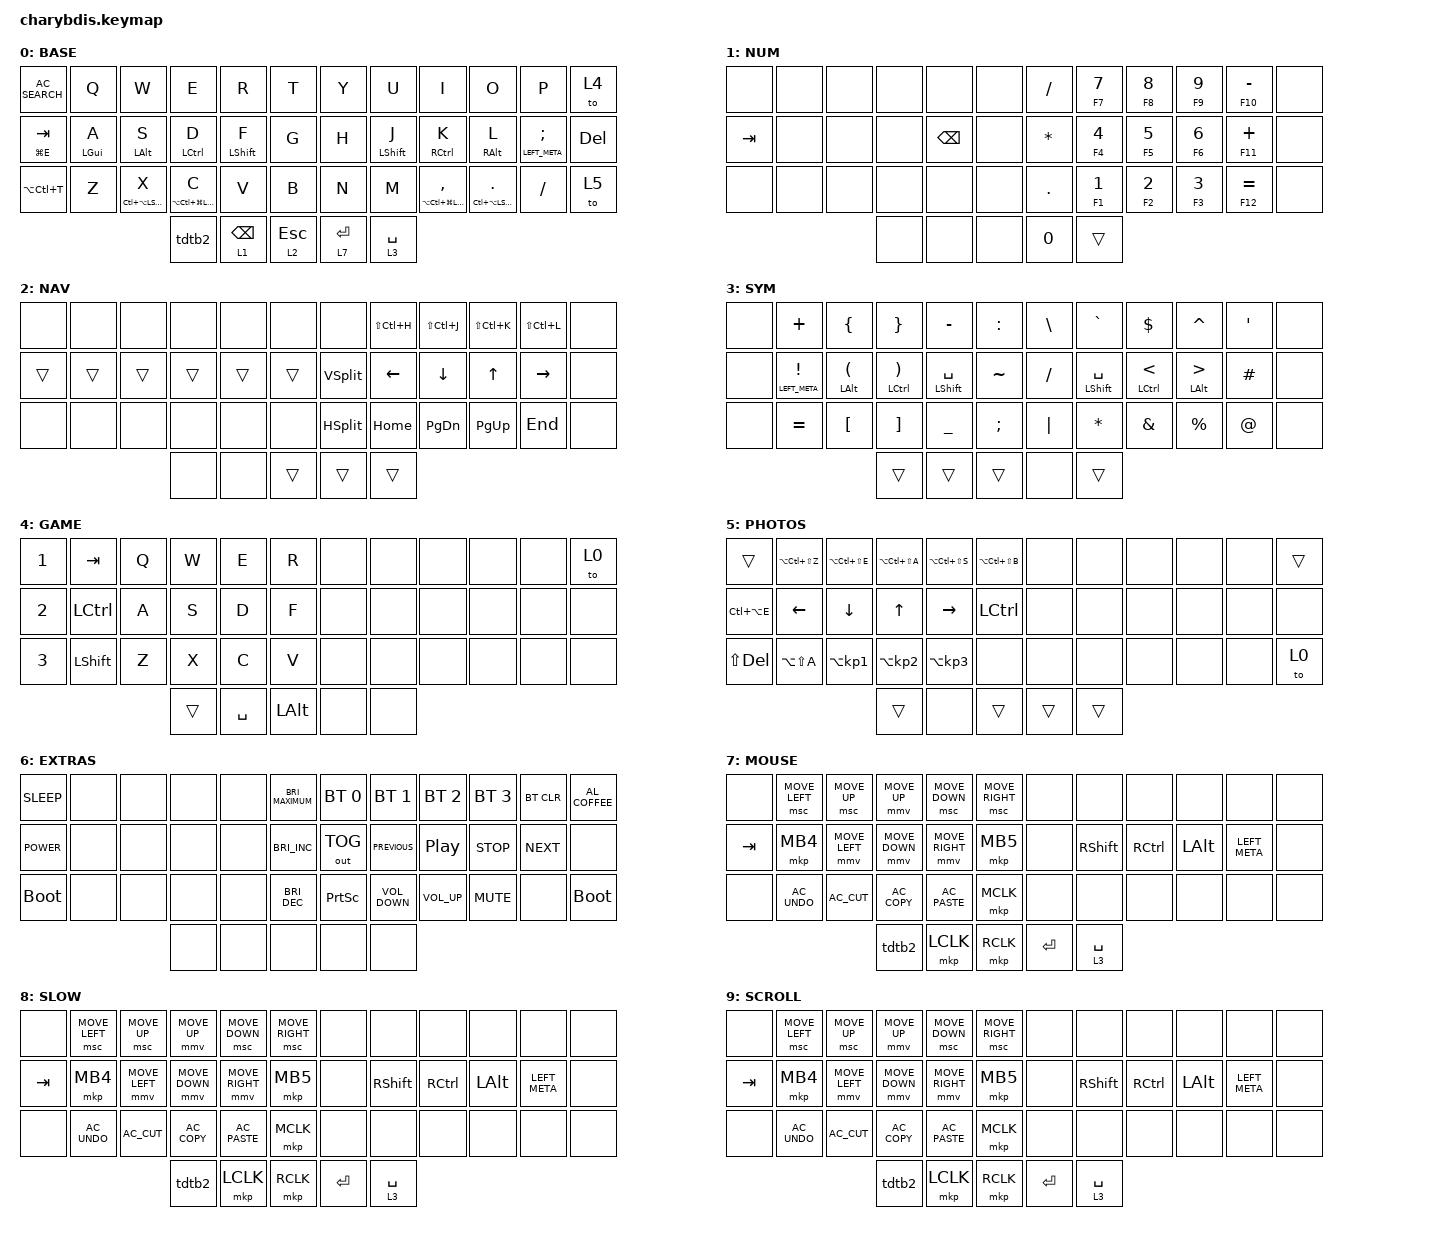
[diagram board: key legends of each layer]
#include <behaviors/mouse_keys.dtsi>
#include <behaviors.dtsi>
#include <dt-bindings/zmk/bt.h>
#include <dt-bindings/zmk/keys.h>
#include <dt-bindings/zmk/mouse.h>
#include <dt-bindings/zmk/outputs.h>
#include <dt-bindings/zmk/ext_power.h>

/ {
    chosen { zmk,matrix_transform = &default_transform; };
};

/ {
    trackball_listener {
        compatible = "zmk,input-behavior-listener";
        device = <&vtrackball>;
        layers = <0 2 3 4 5>;
        evt-type = <INPUT_EV_REL>;
        x-input-code = <INPUT_REL_X>;
        y-input-code = <INPUT_REL_Y>;
        scale-multiplier = <1>;
        scale-divisor = <4>;
        bindings = <&ib_toggle_layer 5>;
    };

    trackball_snipe_listener {
        compatible = "zmk,input-behavior-listener";   
        device = <&vtrackball>;
        layers = <>;
        evt-type = <INPUT_EV_REL>;
        x-input-code = <INPUT_REL_X>;
        y-input-code = <INPUT_REL_Y>;
        scale-multiplier = <1>;
        scale-divisor = <12>;
    };

    trackball_scroll_listener {
        compatible = "zmk,input-behavior-listener";
        device = <&vtrackball>;
        layers = <1>;
        evt-type = <INPUT_EV_REL>;            
        x-input-code = <INPUT_REL_MISC>;
        y-input-code = <INPUT_REL_WHEEL>;
        y-invert;
        bindings = <&ib_wheel_scaler 1 16>;
    };

    ib_wheel_scaler: ib_wheel_scaler {
        compatible = "zmk,input-behavior-scaler";
        #binding-cells = <2>;
        evt-type = <INPUT_EV_REL>;
        input-code = <INPUT_REL_WHEEL>;
    };

    ib_toggle_layer: ib_toggle_layer {
        compatible = "zmk,input-behavior-tog-layer";
        #binding-cells = <1>;
        time-to-live-ms = <750>;
    };
    
    behaviors {
        hm: homerow_mod {
            compatible = "zmk,behavior-hold-tap";
            #binding-cells = <2>;
            flavor = "tap-preferred";
            tapping-term-ms = <250>;
            quick-tap-ms = <150>;
            require-prior-idle-ms = <125>;
            bindings = <&kp>, <&kp>;
        };

        tdtb: td_mouse_scroll {
            compatible = "zmk,behavior-tap-dance";
            #binding-cells = <0>;
            bindings = <&httl 9 7>, <&to 0>;
            tapping-term-ms = <200>;
        };

        tdtb2: td_slow_scroll {
            compatible = "zmk,behavior-tap-dance";
            #binding-cells = <0>;
            bindings = <&httl 9 0>, <&to 8>;
        };

        httl: ht_two_layers {
            compatible = "zmk,behavior-hold-tap";
            bindings = <&mo>, <&to>;

            #binding-cells = <2>;
            flavor = "balanced";
            tapping-term-ms = <200>;
        };

        td_bore: BASE_or_EXTRA {
            compatible = "zmk,behavior-tap-dance";
            #binding-cells = <0>;
            bindings = <&mo 6>, <&to 0>;
        };
    };

    combos {
        compatible = "zmk,combos";

        Delete {
            bindings = <&kp DELETE>;
            key-positions = <8 9>;
            layers = <0>;
        };

        CapsWord {
            bindings = <&caps_word>;
            key-positions = <17 18>;
            layers = <0>;
        };

        BASE_or_EXTRAS {
            bindings = <&td_bore>;
            key-positions = <38 39>;
        };
    };

    macros {
        VSplit: VSplit {
            compatible = "zmk,behavior-macro";
            #binding-cells = <0>;
            bindings = <&kp LEFT_SHIFT &kp SEMI &kp LS(V) &kp LS(S) &kp LS(P) &kp RET>;
        };

        HSplit: HSplit {
            compatible = "zmk,behavior-macro";
            #binding-cells = <0>;
            bindings = <&kp LEFT_SHIFT &kp SEMI &kp LS(S) &kp LS(P) &kp RET>;
        };
    };

    keymap {
        compatible = "zmk,keymap";

        BASE {
            bindings = <
// ╭────────────────┬──────────────┬─────────────────────────┬─────────────────────────────┬──────────────────┬──────────────╮  ╭──────────────┬─────────────────┬──────────────────────────────────┬──────────────────────────────┬────────────────────────┬─────────╮
    &kp C_AC_SEARCH  &kp Q           &kp W                     &kp E                         &kp R               &kp T           &kp Y          &kp U             &kp I                              &kp O                          &kp P                    &to 4
// ├────────────────┼──────────────┼─────────────────────────┼─────────────────────────────┼──────────────────┼──────────────┤  ├──────────────┼─────────────────┼──────────────────────────────────┼──────────────────────────────┼────────────────────────┼─────────┤
    &hm LG(E) TAB    &hm LEFT_GUI A  &hm LEFT_ALT S            &hm LCTRL D                   &hm LEFT_SHIFT F    &kp G           &kp H          &hm LEFT_SHIFT J  &hm RCTRL K                        &hm RIGHT_ALT L                &hm LEFT_META SEMICOLON  &kp DEL
// ├────────────────┼──────────────┼─────────────────────────┼─────────────────────────────┼──────────────────┼──────────────┤  ├──────────────┼─────────────────┼──────────────────────────────────┼──────────────────────────────┼────────────────────────┼─────────┤
    &kp LA(LC(T))    &kp Z           &hm LC(LA(LEFT_SHIFT)) X  &hm LA(LC(LG(LEFT_SHIFT))) C  &kp V               &kp B           &kp N          &kp M             &hm LA(LC(LG(LEFT_SHIFT))) COMMA   &hm LC(LA(LEFT_SHIFT)) PERIOD  &kp FSLH                 &to 5
// ╰────────────────┴──────────────┴─────────────────────────┼─────────────────────────────┼──────────────────┼──────────────┤  ├──────────────┼─────────────────┼──────────────────────────────────┴──────────────────────────────┴────────────────────────┴─────────╯
                                                               &tdtb2                         &lt 1 BACKSPACE     &lt 2 ESCAPE     &lt 7 RETURN  &lt 3 SPACE
                                                          // ╰─────────────────────────────┴──────────────────┴──────────────╯  ╰──────────────┴────────────╯
            >;
        };

        NUM {
            bindings = <
&none    &none  &none  &none  &none          &none    &kp SLASH  &hm F7 N7  &hm F8 N8  &hm F9 N9  &hm F10 MINUS  &none
&kp TAB  &none  &none  &none  &kp BACKSPACE  &none    &kp ASTRK  &hm F4 N4  &hm F5 N5  &hm F6 N6  &hm F11 PLUS   &none
&none    &none  &none  &none  &none          &none    &kp DOT    &hm F1 N1  &hm F2 N2  &hm F3 N3  &hm F12 EQUAL  &none
                       &none  &none          &none    &kp N0     &trans
            >;
        };

        NAV {
            bindings = <
&none   &none   &none   &none   &none   &none     &none    &kp LS(LC(H))   &kp LS(LC(J))  &kp LS(LC(K))  &kp LS(LC(L))    &none
&trans  &trans  &trans  &trans  &trans  &trans    &VSplit  &kp LEFT_ARROW  &kp DOWN       &kp UP         &kp RIGHT_ARROW  &none
&none   &none   &none   &none   &none   &none     &HSplit  &kp HOME        &kp PG_DN      &kp PG_UP      &kp END          &none
                        &none   &none   &trans    &trans   &trans
            >;
        };

        SYM {
            bindings = <
&none  &kp PLUS            &kp LEFT_BRACE     &kp RIGHT_BRACE  &kp MINUS             &kp COLON      &kp BSLH   &kp GRAVE             &kp DLLR      &kp CARET        &kp SQT      &none
&none  &hm LEFT_META EXCL  &hm LEFT_ALT LPAR  &hm LCTRL RPAR   &hm LEFT_SHIFT SPACE  &kp TILDE      &kp SLASH  &hm LEFT_SHIFT SPACE  &hm LCTRL LT  &hm LEFT_ALT GT  &kp HASH     &none
&none  &kp EQUAL           &kp LBKT           &kp RBKT         &kp UNDERSCORE        &kp SEMICOLON  &kp PIPE   &kp ASTRK             &kp AMPS      &kp PRCNT        &kp AT_SIGN  &none
                                              &trans           &trans                &trans         &none      &trans
            >;
        };

        GAME {
            bindings = <
&kp N1  &kp TAB    &kp Q  &kp W   &kp E      &kp R           &none  &none  &none  &none  &none  &to 0
&kp N2  &kp LCTRL  &kp A  &kp S   &kp D      &kp F           &none  &none  &none  &none  &none  &none
&kp N3  &kp LSHFT  &kp Z  &kp X   &kp C      &kp V           &none  &none  &none  &none  &none  &none
                          &trans  &kp SPACE  &kp LEFT_ALT    &none  &none
            >;
        };

        PHOTOS {
            bindings = <
&trans          &kp LA(LC(LS(Z)))  &kp LA(LC(LS(E)))  &kp LA(LC(LS(A)))  &kp LA(LC(LS(S)))  &kp LA(LC(LS(B)))    &none   &none   &none  &none  &none  &trans
&kp LC(LA(E))   &kp LEFT           &kp DOWN           &kp UP             &kp RIGHT          &kp LCTRL            &none   &none   &none  &none  &none  &none
&kp LS(DELETE)  &kp LA(LS(A))      &kp LA(KP_N1)      &kp LA(KP_N2)      &kp LA(KP_N3)      &none                &none   &none   &none  &none  &none  &to 0
                                                      &trans             &none              &trans               &trans  &trans
            >;
        };

        EXTRAS {
            bindings = <
&kp C_SLEEP  &none  &none  &none  &none  &kp C_BRIGHTNESS_MAXIMUM    &bt BT_SEL 0     &bt BT_SEL 1       &bt BT_SEL 2      &bt BT_SEL 3  &bt BT_CLR  &kp C_AL_COFFEE
&kp C_POWER  &none  &none  &none  &none  &kp C_BRIGHTNESS_INC        &out OUT_TOG     &kp C_PREVIOUS     &kp C_PLAY_PAUSE  &kp C_STOP    &kp C_NEXT  &none
&bootloader  &none  &none  &none  &none  &kp C_BRIGHTNESS_DEC        &kp PRINTSCREEN  &kp C_VOLUME_DOWN  &kp C_VOLUME_UP   &kp K_MUTE    &none       &bootloader
                           &none  &none  &none                       &none            &none
            >;
        };

        MOUSE {
            bindings = <
&none    &msc MOVE_LEFT  &msc MOVE_UP    &mmv MOVE_UP    &msc MOVE_DOWN   &msc MOVE_RIGHT    &none  &none            &none      &none         &none          &none
&kp TAB  &mkp MB4        &mmv MOVE_LEFT  &mmv MOVE_DOWN  &mmv MOVE_RIGHT  &mkp MB5           &none  &kp RIGHT_SHIFT  &kp RCTRL  &kp LEFT_ALT  &kp LEFT_META  &none
&none    &kp C_AC_UNDO   &kp C_AC_CUT    &kp C_AC_COPY   &kp C_AC_PASTE   &mkp MCLK          &none  &none            &none      &none         &none          &none
                                         &tdtb2          &mkp LCLK        &mkp RCLK          &kp RETURN              &lt 3 SPACE
            >;
        };

        SLOW {
            bindings = <
&none    &msc MOVE_LEFT  &msc MOVE_UP    &mmv MOVE_UP    &msc MOVE_DOWN   &msc MOVE_RIGHT    &none  &none            &none      &none         &none          &none
&kp TAB  &mkp MB4        &mmv MOVE_LEFT  &mmv MOVE_DOWN  &mmv MOVE_RIGHT  &mkp MB5           &none  &kp RIGHT_SHIFT  &kp RCTRL  &kp LEFT_ALT  &kp LEFT_META  &none
&none    &kp C_AC_UNDO   &kp C_AC_CUT    &kp C_AC_COPY   &kp C_AC_PASTE   &mkp MCLK          &none  &none            &none      &none         &none          &none
                                         &tdtb2          &mkp LCLK        &mkp RCLK          &kp RETURN              &lt 3 SPACE
            >;
        };

        SCROLL {
            bindings = <
&none    &msc MOVE_LEFT  &msc MOVE_UP    &mmv MOVE_UP    &msc MOVE_DOWN   &msc MOVE_RIGHT    &none  &none            &none      &none         &none          &none
&kp TAB  &mkp MB4        &mmv MOVE_LEFT  &mmv MOVE_DOWN  &mmv MOVE_RIGHT  &mkp MB5           &none  &kp RIGHT_SHIFT  &kp RCTRL  &kp LEFT_ALT  &kp LEFT_META  &none
&none    &kp C_AC_UNDO   &kp C_AC_CUT    &kp C_AC_COPY   &kp C_AC_PASTE   &mkp MCLK          &none  &none            &none      &none         &none          &none
                                         &tdtb2          &mkp LCLK        &mkp RCLK          &kp RETURN              &lt 3 SPACE
            >;
        };
    };
};
